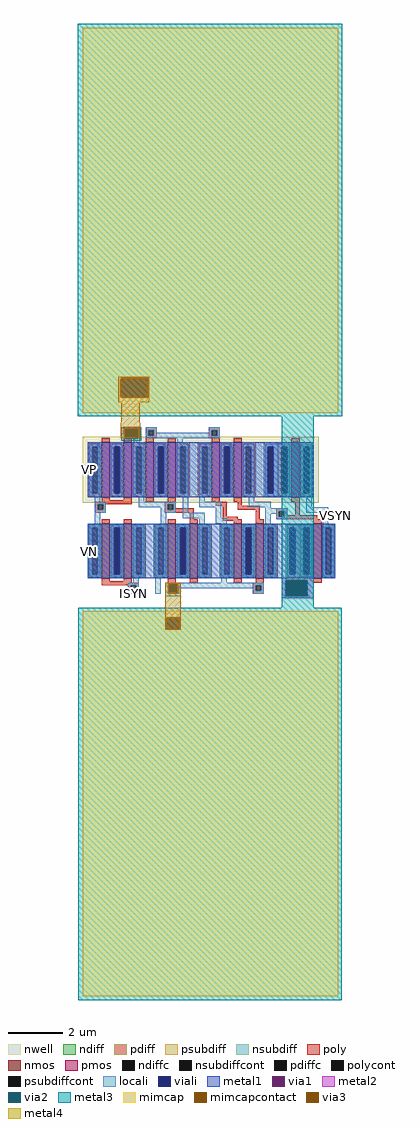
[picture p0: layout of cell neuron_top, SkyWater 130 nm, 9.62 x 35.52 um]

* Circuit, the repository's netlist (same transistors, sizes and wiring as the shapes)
* NGSPICE file created from neuron_top.ext - technology: sky130A

.subckt neuron VP VN ISYN VSYN CMEM CRST a_n150_n600#
X0 VN a_270_n40# CRST VN sky130_fd_pr__nfet_01v8 ad=0.5 pd=2.5 as=1 ps=5 w=2 l=0.3
X1 VP a_270_n40# CMEM VP sky130_fd_pr__pfet_01v8 ad=0.5 pd=2.5 as=0.5 ps=2.5 w=2 l=0.3
X2 a_970_n10# CRST VP VP sky130_fd_pr__pfet_01v8 ad=1 pd=5 as=0.5 ps=2.5 w=2 l=0.3
X3 CMEM a_n150_n600# VP VP sky130_fd_pr__pfet_01v8 ad=0.5 pd=2.5 as=0.5 ps=2.5 w=2 l=0.3
X4 VSYN a_970_n10# VN VN sky130_fd_pr__nfet_01v8 ad=1 pd=5 as=1 ps=5 w=2 l=0.3
X5 VP a_270_n40# CRST VP sky130_fd_pr__pfet_01v8 ad=0.5 pd=2.5 as=1 ps=5 w=2 l=0.3
X6 VSYN a_970_n10# VP VP sky130_fd_pr__pfet_01v8 ad=1 pd=5 as=1 ps=5 w=2 l=0.3
X7 VP a_n150_n600# a_n150_n600# VP sky130_fd_pr__pfet_01v8 ad=0.5 pd=2.5 as=1 ps=5 w=2 l=0.3
X8 a_270_n40# CMEM VN VN sky130_fd_pr__nfet_01v8 ad=1 pd=5 as=0.5 ps=2.5 w=2 l=0.3
X9 VN CRST CMEM VN sky130_fd_pr__nfet_01v8 ad=0.5 pd=2.5 as=1 ps=5 w=2 l=0.3
X10 VN ISYN a_n150_n600# VN sky130_fd_pr__nfet_01v8 ad=0.5 pd=2.5 as=1 ps=5 w=2 l=0.3
X11 a_270_n40# CMEM VP VP sky130_fd_pr__pfet_01v8 ad=1 pd=5 as=0.5 ps=2.5 w=2 l=0.3
X12 ISYN ISYN VN VN sky130_fd_pr__nfet_01v8 ad=1 pd=5 as=0.5 ps=2.5 w=2 l=0.3
X13 a_970_n10# CRST VN VN sky130_fd_pr__nfet_01v8 ad=1 pd=5 as=0.5 ps=2.5 w=2 l=0.3
.ends

Xneuron_0 neuron_0/VP VSUBS ISYN VSYN neuron_0/CMEM neuron_0/CRST VN neuron
X0 neuron_0/CMEM VSUBS sky130_fd_pr__cap_mim_m3_1 l=14 w=9.3
X1 neuron_0/CRST VSUBS sky130_fd_pr__cap_mim_m3_1 l=14 w=9.3
.ends

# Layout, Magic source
magic
tech sky130A
<< locali >>
rect 148 601 208 608
rect 148 578 157 601
rect 199 578 208 601
rect 148 573 208 578
rect 186 535 208 573
rect 25 440 45 460
rect 900 275 920 295
rect 25 145 45 165
rect 175 0 195 20
rect 265 0 285 20
rect 310 10 319 20
rect 310 0 330 10
<< viali >>
rect 157 578 199 601
rect 319 10 341 31
<< metal1 >>
rect 148 604 208 608
rect 148 578 157 604
rect 199 578 208 604
rect 148 573 208 578
rect 25 440 44 460
rect 24 144 46 165
rect 725 49 841 58
rect 310 33 350 40
rect 310 7 315 33
rect 342 7 350 33
rect 310 0 350 7
rect 725 -9 740 49
rect 818 -9 841 49
rect 725 -17 841 -9
<< via1 >>
rect 157 601 199 604
rect 157 578 199 601
rect 315 31 342 33
rect 315 10 319 31
rect 319 10 341 31
rect 341 10 342 31
rect 315 7 342 10
rect 740 -9 818 49
<< metal2 >>
rect 148 604 208 608
rect 148 602 157 604
rect 199 602 208 604
rect 148 573 154 602
rect 201 573 208 602
rect 725 49 841 58
rect 310 36 350 40
rect 310 7 315 36
rect 344 7 350 36
rect 310 0 350 7
rect 725 -9 740 49
rect 818 -9 841 49
rect 725 -17 841 -9
<< via2 >>
rect 154 578 157 602
rect 157 578 199 602
rect 199 578 201 602
rect 154 573 201 578
rect 315 33 344 36
rect 315 7 342 33
rect 342 7 344 33
rect 740 -9 818 49
<< metal3 >>
rect -17 645 945 2073
rect 141 602 213 605
rect 141 566 154 602
rect 202 566 213 602
rect 141 556 213 566
rect 725 49 841 645
rect 301 36 357 40
rect 301 2 313 36
rect 346 2 357 36
rect 301 -10 357 2
rect 725 -9 740 49
rect 818 -9 841 49
rect 725 -51 841 -9
rect -16 -1479 944 -51
<< via3 >>
rect 154 573 201 602
rect 201 573 202 602
rect 154 566 202 573
rect 313 7 315 36
rect 315 7 344 36
rect 344 7 346 36
rect 313 2 346 7
<< mimcap >>
rect 0 783 930 2059
rect 0 714 140 783
rect 240 714 930 783
rect 0 659 930 714
rect 0 -88 930 -65
rect 0 -130 304 -88
rect 354 -130 930 -88
rect 0 -1465 930 -130
<< mimcapcontact >>
rect 140 714 240 783
rect 304 -130 354 -88
<< metal4 >>
rect 131 783 243 790
rect 131 714 140 783
rect 240 714 243 783
rect 131 697 243 714
rect 141 621 208 697
rect 140 620 209 621
rect 140 602 211 620
rect 140 566 154 602
rect 202 566 211 602
rect 142 565 211 566
rect 301 36 357 40
rect 301 2 313 36
rect 346 2 357 36
rect 301 -88 357 2
rect 301 -130 304 -88
rect 354 -130 357 -88
rect 301 -131 357 -130
use neuron  neuron_0
transform 1 0 95 0 1 355
box -95 -355 825 250
<< labels >>
rlabel locali 920 285 920 285 3 VSYN
port 1 e
rlabel locali 185 0 185 0 5 ISYN
port 2 s
rlabel metal1 25 155 25 155 3 VN
port 3 e
rlabel metal1 25 450 25 450 7 VP
port 4 w
<< end >>

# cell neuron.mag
magic
tech sky130A
<< nwell >>
rect -95 -25 765 215
<< nmos >>
rect -25 -300 5 -100
rect 55 -300 85 -100
rect 215 -300 245 -100
rect 295 -300 325 -100
rect 455 -300 485 -100
rect 535 -300 565 -100
rect 745 -300 775 -100
<< pmos >>
rect -25 -5 5 195
rect 55 -5 85 195
rect 135 -5 165 195
rect 215 -5 245 195
rect 375 -5 405 195
rect 455 -5 485 195
rect 665 -5 695 195
<< ndiff >>
rect -75 -115 -25 -100
rect -75 -285 -60 -115
rect -40 -285 -25 -115
rect -75 -300 -25 -285
rect 5 -115 55 -100
rect 5 -285 20 -115
rect 40 -285 55 -115
rect 5 -300 55 -285
rect 85 -115 135 -100
rect 85 -285 100 -115
rect 120 -285 135 -115
rect 85 -300 135 -285
rect 165 -115 215 -100
rect 165 -285 180 -115
rect 200 -285 215 -115
rect 165 -300 215 -285
rect 245 -115 295 -100
rect 245 -285 260 -115
rect 280 -285 295 -115
rect 245 -300 295 -285
rect 325 -115 375 -100
rect 325 -285 340 -115
rect 360 -285 375 -115
rect 325 -300 375 -285
rect 405 -115 455 -100
rect 405 -285 420 -115
rect 440 -285 455 -115
rect 405 -300 455 -285
rect 485 -115 535 -100
rect 485 -285 500 -115
rect 520 -285 535 -115
rect 485 -300 535 -285
rect 565 -115 615 -100
rect 565 -285 580 -115
rect 600 -285 615 -115
rect 565 -300 615 -285
rect 695 -115 745 -100
rect 695 -285 710 -115
rect 730 -285 745 -115
rect 695 -300 745 -285
rect 775 -115 825 -100
rect 775 -285 790 -115
rect 810 -285 825 -115
rect 775 -300 825 -285
<< pdiff >>
rect -75 180 -25 195
rect -75 10 -60 180
rect -40 10 -25 180
rect -75 -5 -25 10
rect 5 180 55 195
rect 5 10 20 180
rect 40 10 55 180
rect 5 -5 55 10
rect 85 180 135 195
rect 85 10 100 180
rect 120 10 135 180
rect 85 -5 135 10
rect 165 180 215 195
rect 165 10 180 180
rect 200 10 215 180
rect 165 -5 215 10
rect 245 180 295 195
rect 245 10 260 180
rect 280 10 295 180
rect 245 -5 295 10
rect 325 180 375 195
rect 325 10 340 180
rect 360 10 375 180
rect 325 -5 375 10
rect 405 180 455 195
rect 405 10 420 180
rect 440 10 455 180
rect 405 -5 455 10
rect 485 180 535 195
rect 485 10 500 180
rect 520 10 535 180
rect 485 -5 535 10
rect 615 180 665 195
rect 615 10 630 180
rect 650 10 665 180
rect 615 -5 665 10
rect 695 180 745 195
rect 695 10 710 180
rect 730 10 745 180
rect 695 -5 745 10
<< ndiffc >>
rect -60 -285 -40 -115
rect 20 -285 40 -115
rect 100 -285 120 -115
rect 180 -285 200 -115
rect 260 -285 280 -115
rect 340 -285 360 -115
rect 420 -285 440 -115
rect 500 -285 520 -115
rect 580 -285 600 -115
rect 710 -285 730 -115
rect 790 -285 810 -115
<< pdiffc >>
rect -60 10 -40 180
rect 20 10 40 180
rect 100 10 120 180
rect 180 10 200 180
rect 260 10 280 180
rect 340 10 360 180
rect 420 10 440 180
rect 500 10 520 180
rect 630 10 650 180
rect 710 10 730 180
<< psubdiff >>
rect 645 -115 695 -100
rect 645 -285 660 -115
rect 680 -285 695 -115
rect 645 -300 695 -285
<< nsubdiff >>
rect 565 180 615 195
rect 565 10 580 180
rect 600 10 615 180
rect 565 -5 615 10
<< psubdiffcont >>
rect 660 -285 680 -115
<< nsubdiffcont >>
rect 580 10 600 180
<< poly >>
rect 135 240 175 250
rect 135 220 145 240
rect 165 220 175 240
rect 135 210 175 220
rect 365 240 405 250
rect 365 220 375 240
rect 395 220 405 240
rect 365 210 405 220
rect -25 195 5 210
rect 55 195 85 210
rect 135 195 165 210
rect 215 195 245 210
rect 375 195 405 210
rect 455 195 485 210
rect 665 195 695 210
rect -25 -15 5 -5
rect 55 -15 85 -5
rect -25 -20 85 -15
rect 135 -20 165 -5
rect 215 -20 245 -5
rect 375 -20 405 -5
rect 455 -20 485 -5
rect 665 -20 695 -5
rect -50 -30 85 -20
rect 205 -30 245 -20
rect -50 -50 -40 -30
rect -20 -50 -10 -30
rect -50 -60 -10 -50
rect 205 -50 215 -30
rect 235 -45 245 -30
rect 390 -35 430 -20
rect 235 -50 310 -45
rect 205 -60 310 -50
rect 295 -85 310 -60
rect 415 -75 430 -35
rect 470 -35 485 -20
rect 470 -50 550 -35
rect 415 -85 470 -75
rect 535 -85 550 -50
rect 610 -55 650 -45
rect 610 -75 620 -55
rect 640 -70 650 -55
rect 680 -70 695 -20
rect 640 -75 760 -70
rect 610 -85 760 -75
rect -25 -100 5 -85
rect 55 -100 85 -85
rect 215 -100 245 -85
rect 295 -100 325 -85
rect 415 -90 485 -85
rect 455 -100 485 -90
rect 535 -100 565 -85
rect 745 -100 775 -85
rect -25 -310 5 -300
rect 55 -310 85 -300
rect -25 -315 85 -310
rect 215 -315 245 -300
rect 295 -315 325 -300
rect 455 -315 485 -300
rect 535 -315 565 -300
rect 745 -315 775 -300
rect -25 -325 110 -315
rect 70 -345 80 -325
rect 100 -345 110 -325
rect 70 -355 110 -345
rect 215 -325 255 -315
rect 215 -345 225 -325
rect 245 -345 255 -325
rect 215 -355 255 -345
rect 525 -325 565 -315
rect 525 -345 535 -325
rect 555 -345 565 -325
rect 525 -355 565 -345
<< polycont >>
rect 145 220 165 240
rect 375 220 395 240
rect -40 -50 -20 -30
rect 215 -50 235 -30
rect 620 -75 640 -55
rect 80 -345 100 -325
rect 225 -345 245 -325
rect 535 -345 555 -325
<< locali >>
rect 135 240 175 250
rect 135 220 145 240
rect 165 230 175 240
rect 365 240 405 250
rect 365 230 375 240
rect 165 220 375 230
rect 395 220 405 240
rect 135 210 405 220
rect 250 190 270 210
rect -70 180 -30 190
rect -70 10 -60 180
rect -40 10 -30 180
rect -70 0 -30 10
rect 10 180 50 190
rect 10 10 20 180
rect 40 10 50 180
rect 10 0 50 10
rect 90 180 130 190
rect 90 10 100 180
rect 120 10 130 180
rect 90 0 130 10
rect 170 180 210 190
rect 170 10 180 180
rect 200 10 210 180
rect 170 0 210 10
rect 250 180 290 190
rect 250 10 260 180
rect 280 10 290 180
rect 250 0 290 10
rect -50 -20 -30 0
rect 110 -20 130 0
rect -50 -30 -10 -20
rect -50 -50 -40 -30
rect -20 -50 -10 -30
rect 110 -30 245 -20
rect 110 -40 215 -30
rect -50 -60 -10 -50
rect 190 -50 215 -40
rect 235 -50 245 -30
rect 190 -60 245 -50
rect 270 -60 290 0
rect 330 180 370 190
rect 330 10 340 180
rect 360 10 370 180
rect 330 0 370 10
rect 410 180 450 190
rect 410 10 420 180
rect 440 10 450 180
rect 410 0 450 10
rect 490 180 530 190
rect 490 10 500 180
rect 520 10 530 180
rect 490 0 530 10
rect 570 180 660 190
rect 570 10 580 180
rect 600 10 630 180
rect 650 10 660 180
rect 570 0 660 10
rect 700 180 740 190
rect 700 10 710 180
rect 730 10 740 180
rect 700 0 740 10
rect 330 -20 350 0
rect 510 -20 530 0
rect 330 -40 410 -20
rect 510 -40 590 -20
rect -50 -105 -30 -60
rect 190 -105 210 -60
rect 270 -80 350 -60
rect 330 -105 350 -80
rect 390 -80 410 -40
rect 570 -45 590 -40
rect 720 -40 740 0
rect 570 -55 650 -45
rect 570 -65 620 -55
rect 390 -100 430 -80
rect 410 -105 430 -100
rect 570 -105 590 -65
rect 610 -75 620 -65
rect 640 -75 650 -55
rect 720 -60 800 -40
rect 610 -85 650 -75
rect 780 -80 825 -60
rect 780 -105 800 -80
rect -70 -115 -30 -105
rect -70 -285 -60 -115
rect -40 -285 -30 -115
rect -70 -295 -30 -285
rect 10 -115 50 -105
rect 10 -285 20 -115
rect 40 -285 50 -115
rect 10 -295 50 -285
rect 90 -115 130 -105
rect 90 -285 100 -115
rect 120 -285 130 -115
rect 90 -295 130 -285
rect 170 -115 210 -105
rect 170 -285 180 -115
rect 200 -285 210 -115
rect 170 -295 210 -285
rect 250 -115 290 -105
rect 250 -285 260 -115
rect 280 -285 290 -115
rect 250 -295 290 -285
rect 330 -115 370 -105
rect 330 -285 340 -115
rect 360 -285 370 -115
rect 330 -295 370 -285
rect 410 -115 450 -105
rect 410 -285 420 -115
rect 440 -285 450 -115
rect 410 -295 450 -285
rect 490 -115 530 -105
rect 490 -285 500 -115
rect 520 -285 530 -115
rect 490 -295 530 -285
rect 570 -115 610 -105
rect 570 -285 580 -115
rect 600 -285 610 -115
rect 570 -295 610 -285
rect 650 -115 740 -105
rect 650 -285 660 -115
rect 680 -285 710 -115
rect 730 -285 740 -115
rect 650 -295 740 -285
rect 780 -115 820 -105
rect 780 -285 790 -115
rect 810 -285 820 -115
rect 780 -295 820 -285
rect 90 -315 110 -295
rect 70 -325 110 -315
rect 70 -345 80 -325
rect 100 -345 110 -325
rect 70 -355 110 -345
rect 170 -355 190 -295
rect 410 -315 430 -295
rect 215 -325 565 -315
rect 215 -345 225 -325
rect 245 -335 535 -325
rect 245 -345 255 -335
rect 215 -355 255 -345
rect 525 -345 535 -335
rect 555 -345 565 -325
rect 525 -355 565 -345
<< viali >>
rect 20 10 40 180
rect 180 10 200 180
rect 420 10 440 180
rect 580 10 600 180
rect 630 10 650 180
rect 20 -285 40 -115
rect 260 -285 280 -115
rect 500 -285 520 -115
rect 660 -285 680 -115
rect 710 -285 730 -115
<< metal1 >>
rect -75 180 745 195
rect -75 10 20 180
rect 40 10 180 180
rect 200 10 420 180
rect 440 10 580 180
rect 600 10 630 180
rect 650 10 745 180
rect -75 -5 745 10
rect -75 -115 825 -100
rect -75 -285 20 -115
rect 40 -285 260 -115
rect 280 -285 500 -115
rect 520 -285 660 -115
rect 680 -285 710 -115
rect 730 -285 825 -115
rect -75 -300 825 -285
<< labels >>
rlabel metal1 -70 95 -70 95 7 VP
port 1 w
rlabel metal1 -70 -200 -70 -200 7 VN
port 2 w
rlabel locali 825 -70 825 -70 3 VSYN
port 4 e
rlabel locali 90 -355 90 -355 5 ISYN
port 3 s
rlabel locali 180 -355 180 -355 5 CMEM
port 5 s
rlabel locali 225 -355 225 -355 5 CRST
port 6 s
<< end >>
